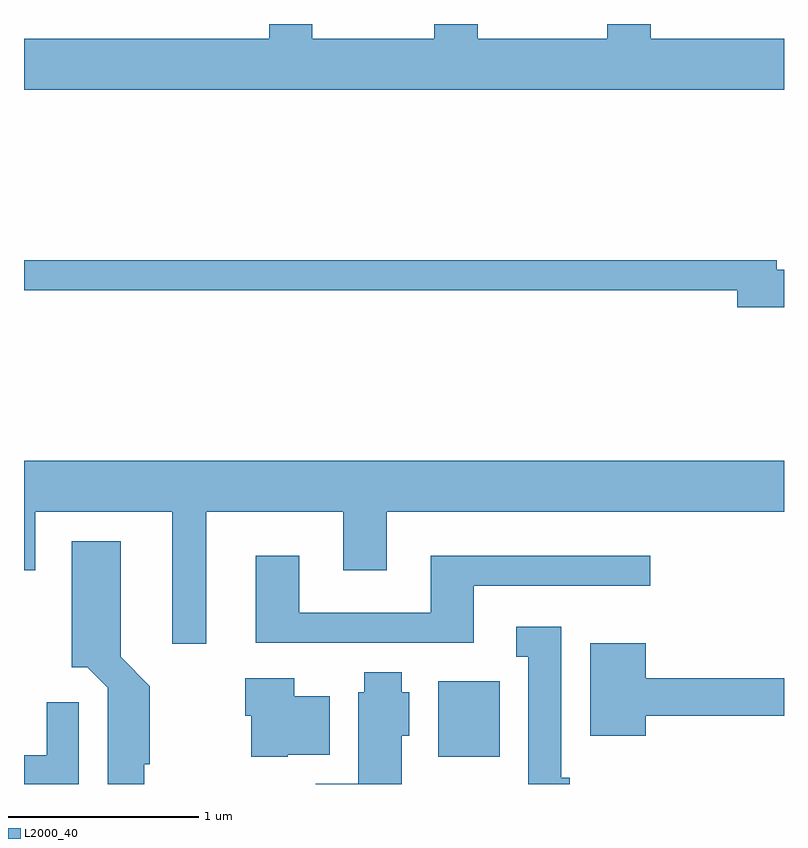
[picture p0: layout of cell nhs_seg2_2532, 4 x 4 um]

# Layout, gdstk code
import gdstk
lib = gdstk.Library(unit=1e-6, precision=1e-09)
def R(c, l, rs):  # rectangles x0, y0, x1, y1
    for r in rs: c.add(gdstk.rectangle(r[:2], r[2:], *l))
def P(c, l, *ps):  # polygons
    for p in ps: c.add(gdstk.Polygon(p, *l))
L2000_40 = (2000, 40)

nhs_seg2_2532 = lib.new_cell('nhs_seg2_2532')
R(nhs_seg2_2532, L2000_40, [(261.791,1015.946,262.114,1016.344)])
P(nhs_seg2_2532, L2000_40, [(263.611,1019.724),(262.909,1019.724),(262.909,1019.802),(262.681,1019.802),(262.681,1019.724),(261.999,1019.724),(261.999,1019.802),(261.771,1019.802),(261.771,1019.724),(261.129,1019.724),(261.129,1019.802),(260.901,1019.802),(260.901,1019.724),(259.611,1019.724),(259.611,1019.456),(263.611,1019.456)],
  [(263.611,1018.509),(263.574,1018.509),(263.574,1018.559),(259.611,1018.559),(259.611,1018.401),(263.366,1018.401),(263.366,1018.311),(263.611,1018.311)],
  [(260.569,1017.236),(261.291,1017.236),(261.291,1016.926),(261.519,1016.926),(261.519,1017.236),(263.611,1017.236),(263.611,1017.504),(259.611,1017.504),(259.611,1016.926),(259.669,1016.926),(259.669,1017.236),(260.391,1017.236),(260.391,1016.541),(260.569,1016.541)],
  [(260.244,1015.906),(260.274,1015.906),(260.274,1016.317),(260.119,1016.472),(260.119,1017.079),(259.861,1017.079),(259.861,1016.416),(259.944,1016.416),(260.051,1016.309),(260.051,1015.802),(260.244,1015.802)],
  [(261.979,1016.846),(262.908,1016.846),(262.908,1017.004),(261.751,1017.004),(261.751,1016.704),(261.059,1016.704),(261.059,1017.004),(260.831,1017.004),(260.831,1016.546),(261.979,1016.546)],
  [(262.484,1015.834),(262.439,1015.834),(262.439,1016.629),(262.203,1016.629),(262.203,1016.471),(262.266,1016.471),(262.266,1015.802),(262.484,1015.802)],
  [(262.884,1016.161),(263.611,1016.161),(263.611,1016.359),(262.884,1016.359),(262.884,1016.544),(262.591,1016.544),(262.591,1016.056),(262.884,1016.056)],
  [(261.599,1016.056),(261.639,1016.056),(261.639,1016.284),(261.599,1016.284),(261.599,1016.389),(261.401,1016.389),(261.401,1016.284),(261.371,1016.284),(261.371,1015.804),(261.146,1015.804),(261.146,1015.802),(261.599,1015.802)],
  [(261,1015.956),(261.219,1015.956),(261.219,1016.264),(261.034,1016.264),(261.034,1016.359),(260.776,1016.359),(260.776,1016.161),(260.806,1016.161),(260.806,1015.946),(261,1015.946)],
  [(259.899,1016.233),(259.731,1016.233),(259.731,1015.954),(259.611,1015.954),(259.611,1015.802),(259.899,1015.802)])

lib.write_gds('nhs_seg2_2532.gds')
